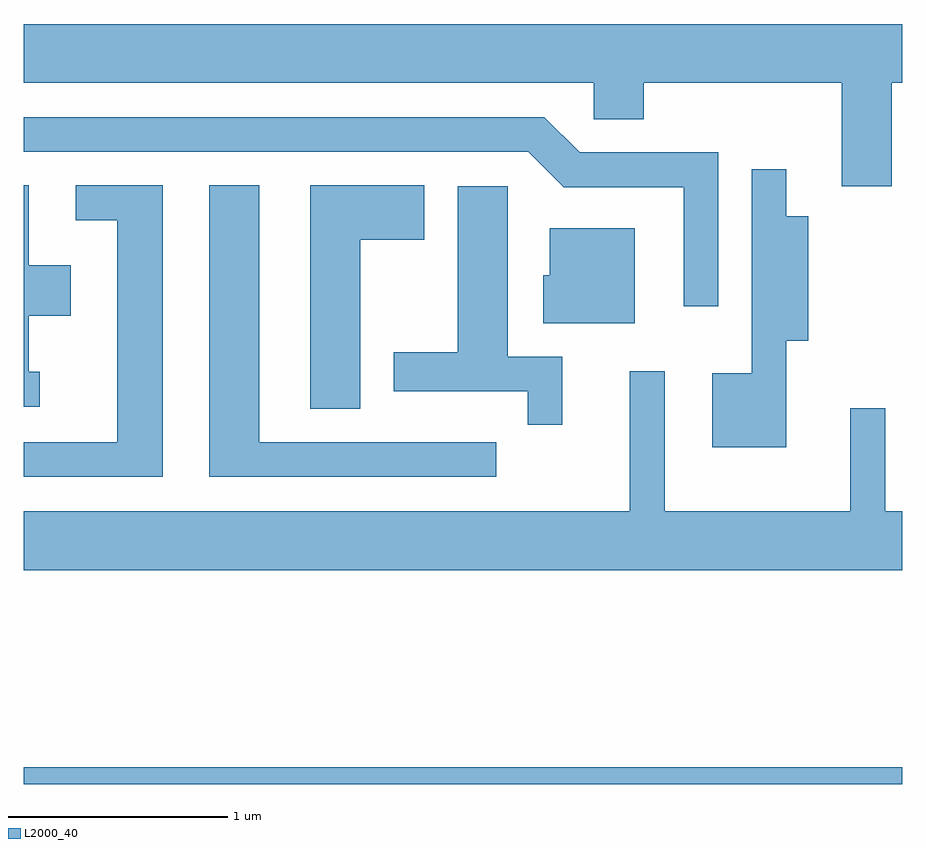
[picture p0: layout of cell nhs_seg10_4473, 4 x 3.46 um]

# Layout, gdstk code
import gdstk
lib = gdstk.Library(unit=1e-6, precision=1e-09)
def R(c, l, rs):  # rectangles x0, y0, x1, y1
    for r in rs: c.add(gdstk.rectangle(r[:2], r[2:], *l))
def P(c, l, *ps):  # polygons
    for p in ps: c.add(gdstk.Polygon(p, *l))
L2000_40 = (2000, 40)

nhs_seg10_4473 = lib.new_cell('nhs_seg10_4473')
R(nhs_seg10_4473, L2000_40, [(317.611,2088.522,321.611,2088.599)])
P(nhs_seg10_4473, L2000_40, [(321.564,2091.716),(321.611,2091.716),(321.611,2091.984),(317.611,2091.984),(317.611,2091.716),(320.206,2091.716),(320.206,2091.551),(320.434,2091.551),(320.434,2091.716),(321.336,2091.716),(321.336,2091.246),(321.564,2091.246)],
  [(320.774,2091.399),(320.142,2091.399),(319.982,2091.559),(317.611,2091.559),(317.611,2091.401),(319.909,2091.401),(320.069,2091.241),(320.616,2091.241),(320.616,2090.698),(320.774,2090.698)],
  [(321.084,2090.541),(321.184,2090.541),(321.184,2091.109),(321.084,2091.109),(321.084,2091.323),(320.926,2091.323),(320.926,2090.394),(320.746,2090.394),(320.746,2090.056),(321.084,2090.056)],
  [(318.244,2091.249),(317.848,2091.249),(317.848,2091.091),(318.036,2091.091),(318.036,2090.079),(317.611,2090.079),(317.611,2089.921),(318.244,2089.921)],
  [(319.144,2091.001),(319.434,2091.001),(319.434,2091.249),(318.916,2091.249),(318.916,2090.231),(319.144,2090.231)],
  [(319.763,2090.079),(318.684,2090.079),(318.684,2091.249),(318.456,2091.249),(318.456,2089.921),(319.763,2089.921)],
  [(317.683,2090.399),(317.634,2090.399),(317.634,2090.656),(317.824,2090.656),(317.824,2090.884),(317.634,2090.884),(317.634,2091.249),(317.611,2091.249),(317.611,2090.241),(317.683,2090.241)],
  [(320.064,2090.469),(319.814,2090.469),(319.814,2091.244),(319.586,2091.244),(319.586,2090.489),(319.296,2090.489),(319.296,2090.311),(319.906,2090.311),(319.906,2090.158),(320.064,2090.158)],
  [(320.394,2091.054),(320.006,2091.054),(320.006,2090.839),(319.976,2090.839),(319.976,2090.621),(320.394,2090.621)],
  [(321.611,2089.764),(321.534,2089.764),(321.534,2090.233),(321.376,2090.233),(321.376,2089.764),(320.529,2089.764),(320.529,2090.403),(320.371,2090.403),(320.371,2089.764),(317.611,2089.764),(317.611,2089.496),(321.611,2089.496)])

lib.write_gds('nhs_seg10_4473.gds')
